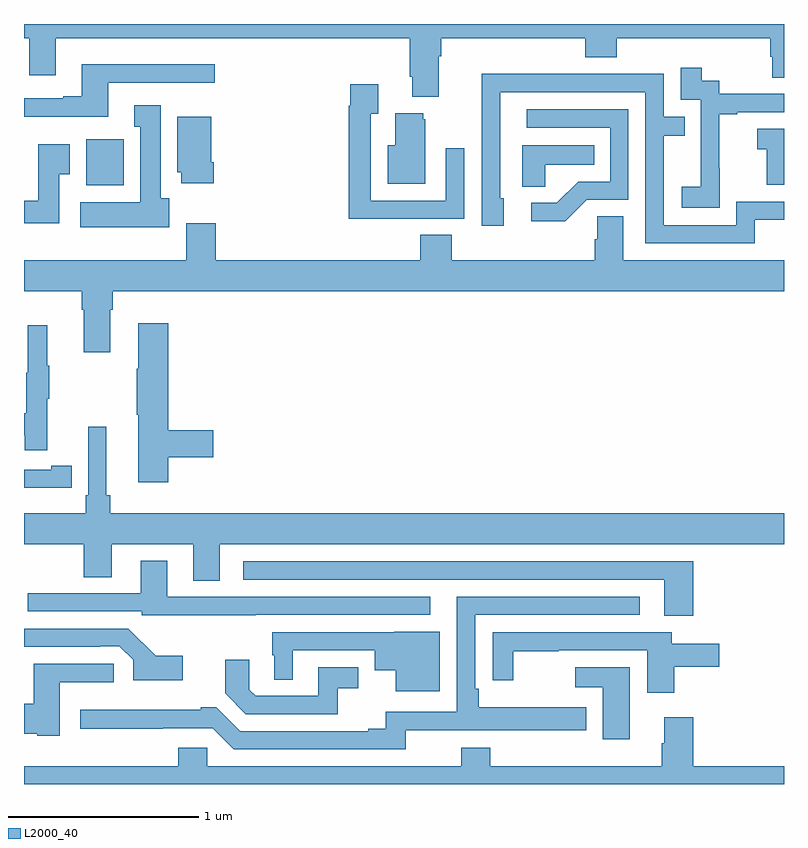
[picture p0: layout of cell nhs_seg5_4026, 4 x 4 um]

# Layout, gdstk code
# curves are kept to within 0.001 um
import gdstk
lib = gdstk.Library(unit=1e-6, precision=1e-09)
def R(c, l, rs):  # rectangles x0, y0, x1, y1
    for r in rs: c.add(gdstk.rectangle(r[:2], r[2:], *l))
def P(c, l, *ps):  # polygons
    for p in ps: c.add(gdstk.Polygon(p, *l))
L2000_40 = (2000, 40)

nhs_seg5_4026 = lib.new_cell('nhs_seg5_4026')
R(nhs_seg5_4026, L2000_40, [(347.327,891.95,347.524,892.192)])
P(nhs_seg5_4026, L2000_40, [(349.183,892.628),(349.196,892.628),(349.196,892.724),(349.955,892.724),(349.955,892.625),(350.12,892.625),(350.12,892.724),(350.927,892.724),(350.927,892.626),(350.939,892.626),(350.939,892.516),(351,892.516),(351,892.799),(347,892.799),(347,892.724),(347.027,892.724),(347.027,892.53),(347.167,892.53),(347.167,892.724),(349.031,892.724),(349.031,892.522),(349.043,892.522),(349.043,892.415),(349.183,892.415)],
  [(347.443,892.491),(348.004,892.491),(348.004,892.588),(347.303,892.588),(347.303,892.42),(347.207,892.42),(347.207,892.407),(347,892.407),(347,892.31),(347.443,892.31)],
  [(350.661,892.039),(350.66,892.039),(350.66,892.323),(350.755,892.323),(350.755,892.335),(351,892.335),(351,892.431),(350.658,892.431),(350.658,892.5),(350.566,892.5),(350.566,892.57),(350.457,892.57),(350.457,892.401),(350.562,892.401),(350.562,892.172),(350.561,892.172),(350.561,891.943),(350.463,891.943),(350.463,891.833),(350.661,891.833)],
  [(350.845,891.768),(351,891.768),(351,891.864),(350.748,891.864),(350.748,891.741),(350.367,891.741),(350.367,892.21),(350.477,892.21),(350.477,892.311),(350.367,892.311),(350.367,892.536),(349.871,892.536),(349.871,892.538),(349.408,892.538),(349.408,892.231),(349.41,892.231),(349.41,891.738),(349.525,891.738),(349.525,891.882),(349.506,891.882),(349.506,892.44),(350.271,892.44),(350.271,891.645),(350.845,891.645)],
  [(349.001,891.774),(349.317,891.774),(349.317,892.144),(349.221,892.144),(349.221,891.87),(348.825,891.87),(348.825,892.327),(348.865,892.327),(348.865,892.483),(348.717,892.483),(348.717,892.37),(348.709,892.37),(348.709,891.773),(349.001,891.773)],
  [(347.764,891.882),(347.719,891.882),(347.719,892.372),(347.579,892.372),(347.579,892.259),(347.612,892.259),(347.612,891.862),(347.295,891.862),(347.295,891.728),(347.764,891.728)],
  [(349.962,891.873),(350.181,891.873),(350.181,892.35),(349.647,892.35),(349.647,892.254),(350.085,892.254),(350.085,891.969),(349.916,891.969),(349.805,891.858),(349.671,891.858),(349.671,891.761),(349.849,891.761)],
  [(349.111,892.299),(349.1,892.299),(349.1,892.33),(348.953,892.33),(348.953,892.162),(348.914,892.162),(348.914,891.959),(349.111,891.959)],
  [(347.999,892.072),(347.986,892.072),(347.986,892.312),(347.807,892.312),(347.807,892.02),(347.828,892.02),(347.828,891.96),(347.999,891.96)],
  [(351,892.249),(350.859,892.249),(350.859,892.139),(350.908,892.139),(350.908,891.954),(351,891.954)],
  [(347.185,892.009),(347.242,892.009),(347.242,892.165),(347.075,892.165),(347.075,891.868),(347,891.868),(347,891.75),(347.185,891.75)],
  [(349.743,892.058),(350,892.058),(350,892.162),(349.622,892.162),(349.622,891.943),(349.743,891.943)],
  [(347.455,891.296),(347.468,891.296),(347.468,891.392),(351,891.392),(351,891.556),(350.155,891.556),(350.155,891.788),(350.016,891.788),(350.016,891.665),(350.003,891.665),(350.003,891.556),(349.25,891.556),(349.25,891.689),(349.085,891.689),(349.085,891.556),(348.008,891.556),(348.008,891.751),(347.855,891.751),(347.855,891.556),(347,891.556),(347,891.392),(347.303,891.392),(347.303,891.296),(347.315,891.296),(347.315,891.072),(347.455,891.072)],
  [(347.759,890.518),(347.995,890.518),(347.995,890.66),(347.759,890.66),(347.759,891.223),(347.6,891.223),(347.6,890.984),(347.593,890.984),(347.593,890.743),(347.6,890.743),(347.6,890.388),(347.759,890.388)],
  [(347.123,890.827),(347.134,890.827),(347.134,891.001),(347.123,891.001),(347.123,891.214),(347.02,891.214),(347.02,890.964),(347.013,890.964),(347.013,890.75),(347,890.75),(347,890.634),(347.005,890.634),(347.005,890.556),(347.123,890.556)],
  [(348.031,890.06),(351,890.06),(351,890.224),(347.453,890.224),(347.453,890.32),(347.434,890.32),(347.434,890.68),(347.337,890.68),(347.337,890.32),(347.324,890.32),(347.324,890.224),(347,890.224),(347,890.06),(347.314,890.06),(347.314,889.888),(347.461,889.888),(347.461,890.06),(347.891,890.06),(347.891,889.87),(348.031,889.87)],
  [(347.144,890.358),(347.252,890.358),(347.252,890.474),(347.144,890.474),(347.144,890.454),(347,890.454),(347,890.357),(347.144,890.357)],
  [(348.221,889.689),(349.138,889.689),(349.138,889.785),(347.755,889.785),(347.755,889.975),(347.615,889.975),(347.615,889.803),(347.019,889.803),(347.019,889.707),(347.619,889.707),(347.619,889.688),(348.019,889.688),(348.019,889.687),(348.221,889.687)],
  [(350.522,889.971),(348.153,889.971),(348.153,889.875),(350.369,889.875),(350.369,889.684),(350.522,889.684)],
  [(349.01,889.082),(349.96,889.082),(349.96,889.204),(349.394,889.204),(349.394,889.3),(349.374,889.3),(349.374,889.689),(350.242,889.689),(350.242,889.785),(349.278,889.785),(349.278,889.179),(348.904,889.179),(348.904,889.09),(348.812,889.09),(348.812,889.077),(348.138,889.077),(348.011,889.204),(347.93,889.204),(347.93,889.189),(347.295,889.189),(347.295,889.091),(347.994,889.092),(348.105,888.981),(349.01,888.981)],
  [(347.836,889.474),(347.694,889.474),(347.623,889.546),(347.621,889.544),(347.548,889.617),(347,889.617),(347,889.521),(347.402,889.521),(347.402,889.524),(347.502,889.524),(347.574,889.452),(347.574,889.346),(347.836,889.346)],
  [(349.189,889.6),(348.949,889.6),(348.949,889.599),(348.306,889.599),(348.306,889.476),(348.317,889.476),(348.317,889.348),(348.415,889.348),(348.415,889.503),(348.845,889.503),(348.845,889.397),(348.956,889.397),(348.956,889.286),(349.189,889.286)],
  [(350.423,889.415),(350.659,889.415),(350.659,889.537),(350.41,889.537),(350.41,889.599),(349.467,889.599),(349.467,889.344),(349.576,889.344),(349.576,889.498),(349.814,889.498),(349.814,889.503),(350.279,889.503),(350.279,889.278),(350.423,889.278)],
  [(348.65,889.304),(348.76,889.304),(348.76,889.414),(348.548,889.414),(348.548,889.263),(348.219,889.263),(348.186,889.296),(348.186,889.453),(348.06,889.453),(348.06,889.276),(348.168,889.167),(348.65,889.167)],
  [(347.188,889.334),(347.473,889.334),(347.473,889.431),(347.051,889.431),(347.051,889.222),(347,889.222),(347,889.064),(347.07,889.064),(347.07,889.052),(347.188,889.052)],
  [(350.188,889.414),(349.902,889.414),(349.902,889.307),(350.045,889.307),(350.045,889.034),(350.188,889.034)],
  [(351,888.892),(350.522,888.892),(350.522,889.15),(350.369,889.15),(350.369,889.013),(350.357,889.013),(350.357,888.892),(349.454,888.892),(349.454,888.991),(349.301,888.991),(349.301,888.892),(347.964,888.892),(347.964,888.99),(347.813,888.99),(347.813,888.892),(347,888.892),(347,888.799),(351,888.799)])

lib.write_gds('nhs_seg5_4026.gds')
